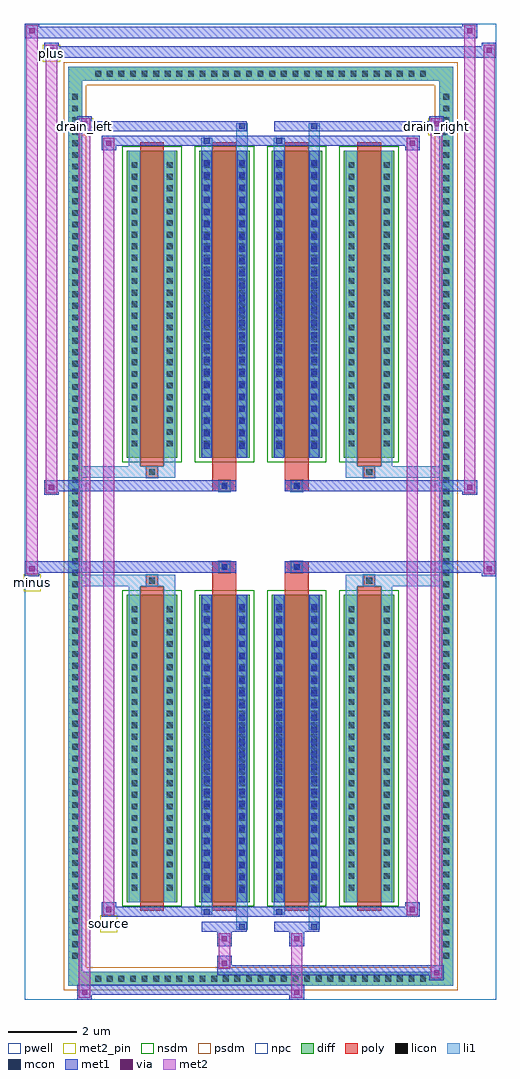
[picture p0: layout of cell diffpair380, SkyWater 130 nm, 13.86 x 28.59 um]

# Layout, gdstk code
import gdstk
lib = gdstk.Library(unit=1e-6, precision=5e-09)
def R(c, l, rs):  # rectangles x0, y0, x1, y1
    for r in rs: c.add(gdstk.rectangle(r[:2], r[2:], *l))
def A(c, l, x, y, w, h, nx, ny, dx, dy):  # array of equal rectangles
    R(c, l, [(x+i*dx, y+j*dy, x+i*dx+w, y+j*dy+h) for i in range(nx) for j in range(ny)])
def P(c, l, *ps):  # polygons
    for p in ps: c.add(gdstk.Polygon(p, *l))
pwell = (64, 44)
diff = (65, 20)
poly = (66, 20)
licon = (66, 44)
li1 = (67, 20)
mcon = (67, 44)
met1 = (68, 20)
via = (68, 44)
met2_pin = (69, 16)
met2 = (69, 20)
nsdm = (93, 44)
psdm = (94, 20)
npc = (95, 20)

diffpair380 = lib.new_cell('diffpair380')
R(diffpair380, pwell, [(-6.91,-13.86,6.91,14.73), (-4.23,-12.05,-0.01,-0.825), (0.01,-12.05,4.23,-0.825), (-4.23,0.825,-0.01,12.05), (0.01,0.825,4.23,12.05)])
A(diffpair380, diff, -4.965, -13.46, 0.41, 0.41, 29, 2, 0.34, 26.51)
A(diffpair380, diff, -5.64, -12.785, 0.41, 0.41, 1, 75, 0, 0.34)
A(diffpair380, diff, 5.23, -12.785, 0.41, 0.41, 1, 75, 0, 0.34)
A(diffpair380, diff, -3.92, -11.005, 1.48, 9, 4, 2, 2.12, 13.01)
R(diffpair380, diff, [(-4.965,-13.46,4.965,-13.05), (-5.64,-12.785,-5.23,12.785), (5.23,-12.785,5.64,12.785), (-4.965,13.05,4.965,13.46)])
P(diffpair380, diff, [(5.64,13.46),(-5.64,13.46),(-5.64,-13.05),(-5.23,-13.05),(-5.23,13.05),(5.23,13.05),(5.23,-13.05),(-5.23,-13.05),(-5.64,-13.05),(-5.64,-13.46),(5.64,-13.46)])
A(diffpair380, poly, -3.53, -11.255, 0.7, 9.5, 4, 2, 2.12, 13.01)
R(diffpair380, poly, [(-3.345,-1.755,-3.015,-1.425), (-3.345,-1.755,-3.015,-1.425), (-1.41,-1.755,-0.71,-1.355), (0.71,-1.755,1.41,-1.355), (3.015,-1.755,3.345,-1.425), (3.015,-1.755,3.345,-1.425), (-1.41,-1.355,-0.71,-1.025), (-1.225,-1.355,-0.895,-1.025), (0.71,-1.355,1.41,-1.025), (0.895,-1.355,1.225,-1.025), (-1.41,1.025,-0.71,1.355), (-1.225,1.025,-0.895,1.355), (0.71,1.025,1.41,1.355), (0.895,1.025,1.225,1.355), (-1.41,1.355,-0.71,1.755), (0.71,1.355,1.41,1.755), (-3.345,1.425,-3.015,1.755), (-3.345,1.425,-3.015,1.755), (3.015,1.425,3.345,1.755), (3.015,1.425,3.345,1.755)])
A(diffpair380, licon, -4.845, -13.34, 0.17, 0.17, 29, 2, 0.34, 26.51)
A(diffpair380, licon, -5.52, -12.665, 0.17, 0.17, 1, 75, 0, 0.34)
A(diffpair380, licon, 5.35, -12.665, 0.17, 0.17, 1, 75, 0, 0.34)
A(diffpair380, licon, -3.78, -10.67, 0.17, 0.17, 1, 25, 0, 0.34)
A(diffpair380, licon, -2.75, -10.67, 0.17, 0.17, 1, 25, 0, 0.34)
A(diffpair380, licon, -1.66, -10.67, 0.17, 0.17, 1, 25, 0, 0.34)
A(diffpair380, licon, -0.63, -10.67, 0.17, 0.17, 1, 25, 0, 0.34)
A(diffpair380, licon, 0.46, -10.67, 0.17, 0.17, 1, 25, 0, 0.34)
A(diffpair380, licon, 1.49, -10.67, 0.17, 0.17, 1, 25, 0, 0.34)
A(diffpair380, licon, 2.58, -10.67, 0.17, 0.17, 1, 25, 0, 0.34)
A(diffpair380, licon, 3.61, -10.67, 0.17, 0.17, 1, 25, 0, 0.34)
A(diffpair380, licon, -3.78, 2.34, 0.17, 0.17, 1, 25, 0, 0.34)
A(diffpair380, licon, -2.75, 2.34, 0.17, 0.17, 1, 25, 0, 0.34)
A(diffpair380, licon, -1.66, 2.34, 0.17, 0.17, 1, 25, 0, 0.34)
A(diffpair380, licon, -0.63, 2.34, 0.17, 0.17, 1, 25, 0, 0.34)
A(diffpair380, licon, 0.46, 2.34, 0.17, 0.17, 1, 25, 0, 0.34)
A(diffpair380, licon, 1.49, 2.34, 0.17, 0.17, 1, 25, 0, 0.34)
A(diffpair380, licon, 2.58, 2.34, 0.17, 0.17, 1, 25, 0, 0.34)
A(diffpair380, licon, 3.61, 2.34, 0.17, 0.17, 1, 25, 0, 0.34)
R(diffpair380, licon, [(-3.265,-1.675,-3.095,-1.505), (3.095,-1.675,3.265,-1.505), (-1.145,-1.275,-0.975,-1.105), (0.975,-1.275,1.145,-1.105), (-1.145,1.105,-0.975,1.275), (0.975,1.105,1.145,1.275), (-3.265,1.505,-3.095,1.675), (3.095,1.505,3.265,1.675)])
A(diffpair380, li1, -4.925, -13.42, 0.33, 0.33, 29, 2, 0.34, 26.51)
A(diffpair380, li1, -5.6, -12.745, 0.33, 0.33, 1, 75, 0, 0.34)
A(diffpair380, li1, 5.27, -12.745, 0.33, 0.33, 1, 75, 0, 0.34)
A(diffpair380, li1, -3.86, -10.75, 0.33, 0.33, 1, 25, 0, 0.34)
A(diffpair380, li1, -2.83, -10.75, 0.33, 0.33, 1, 25, 0, 0.34)
A(diffpair380, li1, -1.74, -10.75, 0.33, 0.33, 1, 25, 0, 0.34)
A(diffpair380, li1, -0.71, -10.75, 0.33, 0.33, 1, 25, 0, 0.34)
A(diffpair380, li1, 0.38, -10.75, 0.33, 0.33, 1, 25, 0, 0.34)
A(diffpair380, li1, 1.41, -10.75, 0.33, 0.33, 1, 25, 0, 0.34)
A(diffpair380, li1, 2.5, -10.75, 0.33, 0.33, 1, 25, 0, 0.34)
A(diffpair380, li1, 3.53, -10.75, 0.33, 0.33, 1, 25, 0, 0.34)
A(diffpair380, li1, -1.66, -10.73, 0.17, 0.17, 1, 24, 0, 0.36)
A(diffpair380, li1, -0.63, -10.73, 0.17, 0.17, 1, 24, 0, 0.36)
A(diffpair380, li1, 0.46, -10.73, 0.17, 0.17, 1, 24, 0, 0.36)
A(diffpair380, li1, 1.49, -10.73, 0.17, 0.17, 1, 24, 0, 0.36)
A(diffpair380, li1, -3.86, 2.26, 0.33, 0.33, 1, 25, 0, 0.34)
A(diffpair380, li1, -2.83, 2.26, 0.33, 0.33, 1, 25, 0, 0.34)
A(diffpair380, li1, -1.74, 2.26, 0.33, 0.33, 1, 25, 0, 0.34)
A(diffpair380, li1, -0.71, 2.26, 0.33, 0.33, 1, 25, 0, 0.34)
A(diffpair380, li1, 0.38, 2.26, 0.33, 0.33, 1, 25, 0, 0.34)
A(diffpair380, li1, 1.41, 2.26, 0.33, 0.33, 1, 25, 0, 0.34)
A(diffpair380, li1, 2.5, 2.26, 0.33, 0.33, 1, 25, 0, 0.34)
A(diffpair380, li1, 3.53, 2.26, 0.33, 0.33, 1, 25, 0, 0.34)
A(diffpair380, li1, -1.66, 2.28, 0.17, 0.17, 1, 24, 0, 0.36)
A(diffpair380, li1, -0.63, 2.28, 0.17, 0.17, 1, 24, 0, 0.36)
A(diffpair380, li1, 0.46, 2.28, 0.17, 0.17, 1, 24, 0, 0.36)
A(diffpair380, li1, 1.49, 2.28, 0.17, 0.17, 1, 24, 0, 0.36)
R(diffpair380, li1, [(-5.64,-13.46,-5.23,-13.05), (-5.64,-13.46,-5.23,-13.05), (-5.23,-13.46,5.23,-13.05), (5.23,-13.46,5.64,-13.05), (5.23,-13.46,5.64,-13.05), (-5.64,-13.05,-5.23,13.05), (5.23,-13.05,5.64,13.05), (-0.71,-11.81,-0.38,-11.005), (-0.63,-11.81,-0.46,-11.64), (1.41,-11.81,1.74,-11.005), (1.49,-11.81,1.66,-11.64), (-1.74,-11.38,-1.41,-11.005), (-1.66,-11.38,-1.49,-11.21), (0.38,-11.38,0.71,-11.005), (0.46,-11.38,0.63,-11.21), (-3.86,-11.005,-3.53,-2.005), (-2.83,-11.005,-2.5,-2.005), (-1.74,-11.005,-1.41,-2.005), (-0.71,-11.005,-0.38,-2.005), (0.38,-11.005,0.71,-2.005), (1.41,-11.005,1.74,-2.005), (2.5,-11.005,2.83,-2.005), (3.53,-11.005,3.86,-2.005), (-1.66,-10.73,-1.49,-2.28), (-0.63,-10.73,-0.46,-2.28), (0.46,-10.73,0.63,-2.28), (1.49,-10.73,1.66,-2.28), (-3.86,-2.005,-3.53,-1.425), (-2.83,-2.005,-2.5,-1.425), (2.5,-2.005,2.83,-1.425), (3.53,-2.005,3.86,-1.425), (-5.64,-1.755,-3.345,-1.425), (-3.86,-1.755,-3.345,-1.425), (-3.345,-1.755,-3.015,-1.425), (-3.015,-1.755,-2.5,-1.425), (2.5,-1.755,3.015,-1.425), (3.015,-1.755,3.345,-1.425), (3.015,-1.755,5.64,-1.425), (3.345,-1.755,3.86,-1.425), (-1.225,-1.355,-0.895,-1.025), (0.895,-1.355,1.225,-1.025), (-1.225,1.025,-0.895,1.355), (0.895,1.025,1.225,1.355), (-5.64,1.425,-3.345,1.755), (-3.86,1.425,-3.345,1.755), (-3.86,1.425,-3.53,2.005), (-3.345,1.425,-3.015,1.755), (-3.015,1.425,-2.5,1.755), (-2.83,1.425,-2.5,2.005), (2.5,1.425,3.015,1.755), (2.5,1.425,2.83,2.005), (3.015,1.425,3.345,1.755), (3.015,1.425,5.64,1.755), (3.345,1.425,3.86,1.755), (3.53,1.425,3.86,2.005), (-3.86,2.005,-3.53,11.005), (-2.83,2.005,-2.5,11.005), (-1.74,2.005,-1.41,11.005), (-0.71,2.005,-0.38,11.005), (0.38,2.005,0.71,11.005), (1.41,2.005,1.74,11.005), (2.5,2.005,2.83,11.005), (3.53,2.005,3.86,11.005), (-1.66,2.28,-1.49,10.73), (-0.63,2.28,-0.46,10.73), (0.46,2.28,0.63,10.73), (1.49,2.28,1.66,10.73), (-1.74,11.005,-1.41,11.38), (-0.71,11.005,-0.38,11.81), (0.38,11.005,0.71,11.38), (1.41,11.005,1.74,11.81), (-1.66,11.21,-1.49,11.38), (0.46,11.21,0.63,11.38), (-0.63,11.64,-0.46,11.81), (1.49,11.64,1.66,11.81), (-5.64,13.05,-5.23,13.46), (-5.64,13.05,-5.23,13.46), (-5.23,13.05,5.23,13.46), (5.23,13.05,5.64,13.46), (5.23,13.05,5.64,13.46)])
A(diffpair380, mcon, -1.66, -10.73, 0.17, 0.17, 1, 24, 0, 0.36)
A(diffpair380, mcon, -0.63, -10.73, 0.17, 0.17, 1, 24, 0, 0.36)
A(diffpair380, mcon, 0.46, -10.73, 0.17, 0.17, 1, 24, 0, 0.36)
A(diffpair380, mcon, 1.49, -10.73, 0.17, 0.17, 1, 24, 0, 0.36)
A(diffpair380, mcon, -1.66, 2.28, 0.17, 0.17, 1, 24, 0, 0.36)
A(diffpair380, mcon, -0.63, 2.28, 0.17, 0.17, 1, 24, 0, 0.36)
A(diffpair380, mcon, 0.46, 2.28, 0.17, 0.17, 1, 24, 0, 0.36)
A(diffpair380, mcon, 1.49, 2.28, 0.17, 0.17, 1, 24, 0, 0.36)
R(diffpair380, mcon, [(-0.63,-11.81,-0.46,-11.64), (1.49,-11.81,1.66,-11.64), (-1.66,-11.38,-1.49,-11.21), (0.46,-11.38,0.63,-11.21), (-1.145,-1.275,-0.975,-1.105), (0.975,-1.275,1.145,-1.105), (-1.145,1.105,-0.975,1.275), (0.975,1.105,1.145,1.275), (-1.66,11.21,-1.49,11.38), (0.46,11.21,0.63,11.38), (-0.63,11.64,-0.46,11.81), (1.49,11.64,1.66,11.81)])
A(diffpair380, met1, -1.72, -10.79, 0.29, 0.29, 1, 24, 0, 0.36)
A(diffpair380, met1, -0.69, -10.79, 0.29, 0.29, 1, 24, 0, 0.36)
A(diffpair380, met1, 0.4, -10.79, 0.29, 0.29, 1, 24, 0, 0.36)
A(diffpair380, met1, 1.43, -10.79, 0.29, 0.29, 1, 24, 0, 0.36)
A(diffpair380, met1, -1.72, 2.22, 0.29, 0.29, 1, 24, 0, 0.36)
A(diffpair380, met1, -0.69, 2.22, 0.29, 0.29, 1, 24, 0, 0.36)
A(diffpair380, met1, 0.4, 2.22, 0.29, 0.29, 1, 24, 0, 0.36)
A(diffpair380, met1, 1.43, 2.22, 0.29, 0.29, 1, 24, 0, 0.36)
R(diffpair380, met1, [(-5.37,-13.86,-4.94,-13.43), (0.845,-13.86,1.275,-13.43), (-5.37,-13.72,1.275,-13.43), (4.94,-13.29,5.37,-12.86), (-1.275,-13.15,5.37,-12.86), (-1.275,-13.01,-0.845,-12.58), (-1.275,-12.3,-0.845,-11.87), (0.845,-12.3,1.275,-11.87), (-1.72,-11.87,-0.4,-11.58), (-0.69,-11.87,-0.4,-11.58), (0.4,-11.87,1.72,-11.58), (1.43,-11.87,1.72,-11.58), (-4.66,-11.44,-4.23,-11.01), (-4.66,-11.44,-1.72,-11.15), (-1.72,-11.44,-1.43,-11.15), (-1.72,-11.44,-0.4,-11.15), (-0.4,-11.44,0.4,-11.15), (0.4,-11.44,0.69,-11.15), (0.4,-11.44,1.72,-11.15), (1.72,-11.44,4.66,-11.15), (4.23,-11.44,4.66,-11.01), (-1.72,-11.005,-1.43,-2.005), (-0.69,-11.005,-0.4,-2.005), (0.4,-11.005,0.69,-2.005), (1.43,-11.005,1.72,-2.005), (-6.91,-1.455,-6.48,-1.025), (6.48,-1.455,6.91,-1.025), (-6.91,-1.355,-0.71,-1.025), (-1.41,-1.355,-0.71,-1.025), (0.71,-1.355,1.41,-1.025), (0.71,-1.355,6.91,-1.025), (-1.205,-1.335,-0.915,-1.045), (0.915,-1.335,1.205,-1.045), (-6.34,0.925,-5.91,1.355), (5.91,0.925,6.34,1.355), (-6.34,1.025,-1.41,1.355), (-1.41,1.025,-0.71,1.355), (0.71,1.025,1.41,1.355), (1.41,1.025,6.34,1.355), (-1.205,1.045,-0.915,1.335), (0.915,1.045,1.205,1.335), (-1.72,2.005,-1.43,11.005), (-0.69,2.005,-0.4,11.005), (0.4,2.005,0.69,11.005), (1.43,2.005,1.72,11.005), (-4.66,11.01,-4.23,11.44), (4.23,11.01,4.66,11.44), (-4.66,11.15,-1.72,11.44), (-1.72,11.15,-1.43,11.44), (-1.72,11.15,-0.4,11.44), (-0.4,11.15,0.4,11.44), (0.4,11.15,0.69,11.44), (0.4,11.15,1.72,11.44), (1.72,11.15,4.66,11.44), (-5.37,11.58,-4.94,12.01), (-5.37,11.58,-1.72,11.87), (-1.72,11.58,-0.4,11.87), (-0.69,11.58,-0.4,11.87), (0.4,11.58,1.72,11.87), (1.43,11.58,1.72,11.87), (1.72,11.58,5.37,11.87), (4.94,11.58,5.37,12.01), (-6.34,13.73,-5.91,14.16), (-6.34,13.73,-4.23,14.06), (-4.23,13.73,4.23,14.06), (4.23,13.73,6.91,14.06), (6.48,13.73,6.91,14.16), (-6.91,14.3,-6.48,14.73), (-6.91,14.3,-4.23,14.63), (-4.23,14.3,4.23,14.63), (4.23,14.3,6.34,14.63), (5.91,14.3,6.34,14.73)])
R(diffpair380, via, [(-5.23,-13.72,-5.08,-13.57), (0.985,-13.72,1.135,-13.57), (5.08,-13.15,5.23,-13), (-1.135,-12.87,-0.985,-12.72), (-1.135,-12.16,-0.985,-12.01), (0.985,-12.16,1.135,-12.01), (-4.52,-11.3,-4.37,-11.15), (4.37,-11.3,4.52,-11.15), (-6.77,-1.315,-6.62,-1.165), (6.62,-1.315,6.77,-1.165), (-6.2,1.065,-6.05,1.215), (6.05,1.065,6.2,1.215), (-4.52,11.15,-4.37,11.3), (4.37,11.15,4.52,11.3), (-5.23,11.72,-5.08,11.87), (5.08,11.72,5.23,11.87), (-6.2,13.87,-6.05,14.02), (6.62,13.87,6.77,14.02), (-6.77,14.44,-6.62,14.59), (6.05,14.44,6.2,14.59)])
R(diffpair380, met2_pin, [(-4.695,-11.89,-4.195,-11.39), (-6.945,-1.905,-6.445,-1.405), (-5.405,11.46,-4.905,11.96), (4.905,11.46,5.405,11.96), (-6.375,13.61,-5.875,14.11)])
R(diffpair380, met2, [(-5.32,-13.81,-4.99,-13.48), (-5.32,-13.81,-4.99,11.96), (0.895,-13.81,1.225,-13.48), (0.895,-13.48,1.225,-12.25), (4.99,-13.24,5.32,-12.91), (4.99,-13.24,5.32,11.96), (-1.225,-12.96,-0.895,-12.63), (-1.225,-12.63,-0.895,-12.25), (-1.225,-12.25,-0.895,-11.92), (0.895,-12.25,1.225,-11.92), (-4.61,-11.39,-4.28,-11.06), (-4.61,-11.39,-4.28,11.39), (4.28,-11.39,4.61,-11.06), (4.28,-11.39,4.61,11.39), (-6.86,-1.405,-6.53,-1.075), (-6.86,-1.405,-6.53,14.68), (6.53,-1.405,6.86,-1.075), (6.53,-1.405,6.86,14.11), (-6.29,0.975,-5.96,1.305), (-6.29,0.975,-5.96,14.11), (5.96,0.975,6.29,1.305), (5.96,0.975,6.29,14.68), (-4.61,11.06,-4.28,11.39), (4.28,11.06,4.61,11.39), (-5.32,11.63,-4.99,11.96), (4.99,11.63,5.32,11.96), (-6.29,13.78,-5.96,14.11), (6.53,13.78,6.86,14.11), (-6.86,14.35,-6.53,14.68), (5.96,14.35,6.29,14.68)])
P(diffpair380, met2, [(6.86,-1.405),(6.86,-1.405),(6.86,-1.075),(6.86,-1.075)],
  [(6.86,13.78),(6.86,13.78),(6.86,14.11),(6.86,14.11)],
  [(-6.53,-1.405),(-6.53,-1.405),(-6.53,-1.075),(-6.53,-1.075)],
  [(-6.53,14.35),(-6.53,14.35),(-6.53,14.68),(-6.53,14.68)],
  [(6.29,0.975),(6.29,0.975),(6.29,1.305),(6.29,1.305)],
  [(6.29,14.35),(6.29,14.35),(6.29,14.68),(6.29,14.68)],
  [(-5.96,0.975),(-5.96,0.975),(-5.96,1.305),(-5.96,1.305)],
  [(-5.96,13.78),(-5.96,13.78),(-5.96,14.11),(-5.96,14.11)],
  [(-4.99,-13.81),(-4.99,-13.81),(-4.99,-13.48),(-4.99,-13.48)],
  [(-4.99,11.63),(-4.99,11.63),(-4.99,11.96),(-4.99,11.96)],
  [(5.32,-13.24),(5.32,-13.24),(5.32,-12.91),(5.32,-12.91)],
  [(5.32,11.63),(5.32,11.63),(5.32,11.96),(5.32,11.96)],
  [(-4.28,-11.39),(-4.28,-11.39),(-4.28,-11.06),(-4.28,-11.06)],
  [(-4.28,11.06),(-4.28,11.06),(-4.28,11.39),(-4.28,11.39)],
  [(4.61,-11.39),(4.61,-11.39),(4.61,-11.06),(4.61,-11.06)],
  [(4.61,11.06),(4.61,11.06),(4.61,11.39),(4.61,11.39)])
A(diffpair380, nsdm, -4.05, -11.135, 1.74, 9.26, 4, 2, 2.12, 13.01)
P(diffpair380, psdm, [(5.77,13.59),(-5.77,13.59),(-5.77,-12.92),(-5.1,-12.92),(-5.1,12.92),(5.1,12.92),(5.1,-12.92),(-5.1,-12.92),(-5.77,-12.92),(-5.77,-13.59),(5.77,-13.59)])
R(diffpair380, npc, [(-3.365,-1.775,-2.995,-1.405), (2.995,-1.775,3.365,-1.405), (-1.245,-1.375,-0.875,-1.005), (0.875,-1.375,1.245,-1.005), (-1.245,1.005,-0.875,1.375), (0.875,1.005,1.245,1.375), (-3.365,1.405,-2.995,1.775), (2.995,1.405,3.365,1.775)])
diffpair380.add(gdstk.Label('minus', (-6.695,-1.655), layer=69, texttype=5))
diffpair380.add(gdstk.Label('drain_right', (5.155,11.71), layer=69, texttype=5))
diffpair380.add(gdstk.Label('drain_left', (-5.155,11.71), layer=69, texttype=5))
diffpair380.add(gdstk.Label('source', (-4.445,-11.64), layer=69, texttype=5))
diffpair380.add(gdstk.Label('plus', (-6.125,13.86), layer=69, texttype=5))

lib.write_gds('diffpair380.gds')
